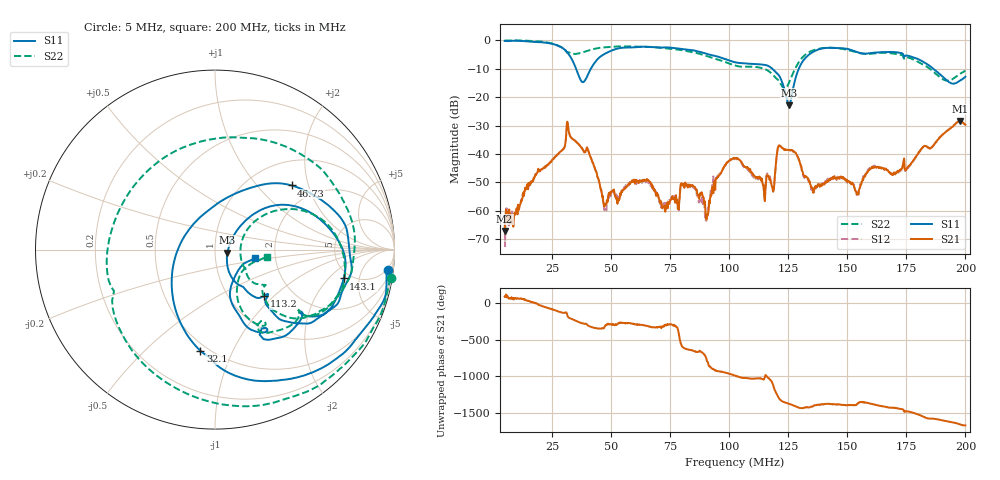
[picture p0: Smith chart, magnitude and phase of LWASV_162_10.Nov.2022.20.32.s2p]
!Keysight Technologies N9917A: A.12.46
!Date: Thursday, 10 November 2022 20:35:18
!Timezone: (UTC) Coordinated Universal Time
!Model: N9917A
!Serial: MY56071016
!GPS Latitude:
!GPS Longitude:
!GPS TimeStamp: 0001-01-01 00:00:00Z
!GPS Seconds Since Last Read: 0
!CHECKSUM:1941243829
!Correction: S11(ON U)S21(ON U)S12(ON U)S22(ON U)
!S2P File: Measurements:S11,S21,S12,S22:
# Hz S DB R 50
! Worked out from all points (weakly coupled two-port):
!   1001 points, 5 MHz to 200 MHz, reference 50 ohm
!   highest |S21| = -28.37 dB at 197.9 MHz (marker M1); lowest = -67.1 dB at 5 MHz (marker M2)
!   lowest |S11| = -22.9 dB at 125.3 MHz (marker M3), VSWR 1.15, Z = 57.4 - j1.87 ohm
!   |S11| at or under -10 dB: 35.23 MHz to 41.51 MHz (6.28 MHz wide, 16.4 % of centre); 118.3 MHz to 129.5 MHz (11.24 MHz wide, 9.08 % of centre); 186.4 MHz to end of sweep
!   |S22| runs from -17.0 to -0.1 dB; largest |S21 - S12| = 0.002
!   S11 on the Smith chart (normalised r, x): 5 MHz: 4, -16; 32.1 MHz: 0.45, -0.76; 46.73 MHz: 1.51, +1.57; 113.2 MHz: 1.44, -0.87; 143.1 MHz: 4.34, -3.03; 200 MHz: 1.57, -0.16
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5000000  -0.24 -6.7  -67.09 87.6  -63.50 86.3  -0.07 -9.3
2.4695e7  -1.16 -51.3  -42.91 -80.5  -42.65 -80.8  -1.03 -79.5
3.2105e7  -4.89 -98.2  -31.91 162.4  -31.84 162.5  -4.23 -167.4
3.7565e7  -14.49 161.6  -37.92 87.6  -37.97 87.5  -4.39 100.2
4.673e7  -5.09 40.0  -56.72 19.9  -57.14 25.1  -2.52 33.4
5.96e7  -2.51 -0.8  -49.57 73.6  -49.88 70.8  -2.21 -1.0
7.013e7  -2.54 -17.7  -55.20 34.5  -55.37 26.0  -2.62 -18.3
8.417e7  -3.45 -37.4  -51.09 76.4  -51.93 70.9  -4.12 -37.7
9.0605e7  -4.81 -44.5  -62.14 -70.5  -62.16 -84.6  -5.58 -44.0
9.392e7  -5.49 -47.1  -49.50 167.2  -49.43 162.6  -6.49 -45.9
1.025e8  -7.74 -46.6  -41.53 92.1  -41.61 90.8  -8.90 -42.3
1.13225e8  -8.49 -43.6  -48.92 58.2  -48.22 56.5  -9.67 -36.6
1.18295e8  -10.02 -51.7  -51.64 -8.2  -51.37 0.3  -11.94 -40.6
1.21025e8  -12.26 -55.2  -37.06 147.4  -37.45 147.2  -14.27 -31.8
1.25315e8  -22.93 -13.2  -38.68 68.2  -38.88 67.5  -15.02 25.5
1.35065e8  -4.32 16.2  -52.09 30.5  -52.17 33.2  -3.67 10.7
1.4306e8  -2.68 -12.6  -48.72 64.0  -48.64 60.7  -2.61 -15.7
1.54175e8  -4.16 -36.2  -53.56 66.6  -54.09 70.8  -4.29 -36.3
1.5983e8  -4.52 -35.8  -45.14 70.7  -45.19 71.3  -4.79 -36.0
1.6763e8  -4.13 -46.1  -46.46 15.3  -46.60 14.9  -4.50 -45.5
1.97855e8  -14.12 -19.4  -28.37 146.0  -28.36 145.5  -11.74 -12.4
2e8  -12.81 -12.4  -29.71 132.9  -29.76 132.4  -10.71 -7.6
